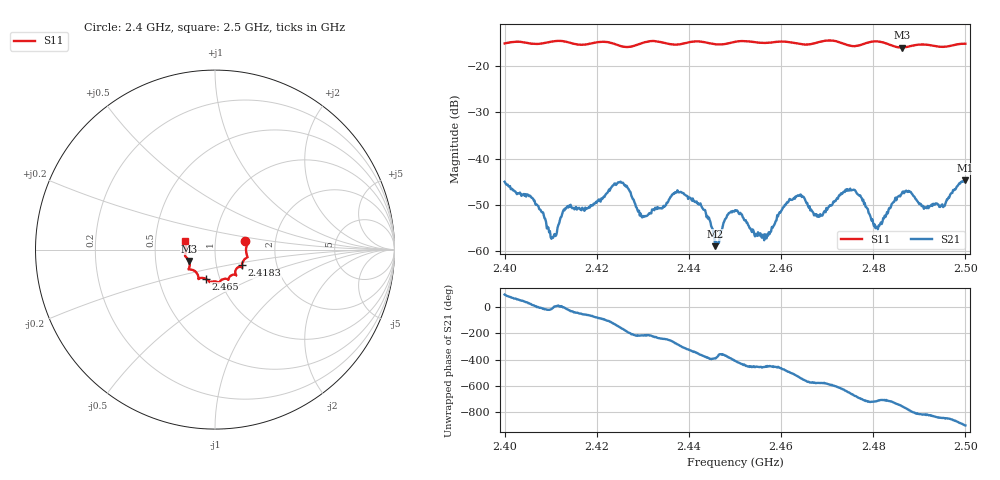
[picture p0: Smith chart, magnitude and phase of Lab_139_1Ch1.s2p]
# Hz S RI R 50
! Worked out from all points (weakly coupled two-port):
!   601 points, 2.4 GHz to 2.5 GHz, reference 50 ohm
!   highest |S21| = -44.65 dB at 2.5 GHz (marker M1); lowest = -58.9 dB at 2.4457 GHz (marker M2)
!   lowest |S11| = -16.0 dB at 2.4862 GHz (marker M3), VSWR 1.37, Z = 37.1 - j4.8 ohm
!   |S11| at or under -10 dB: start of sweep to end of sweep
!   S12 and S22 are empty: the file has one direction only
!   S11 on the Smith chart (normalised r, x): 2.4 GHz: 1.40, +0.13; 2.4183 GHz: 1.33, -0.24; 2.465 GHz: 0.86, -0.29; 2.5 GHz: 0.71, +0.07
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2.4e9  0.169 0.0456  -0.000531 0.0056  0 0  0 0
2.406e9  0.1736 0.00855  0.00362 0.00103  0 0  0 0
2.4105e9  0.1804 -0.0371  0.00138 -0.000175  0 0  0 0
2.413167e9  0.1779 -0.0446  0.00288 -0.000456  0 0  0 0
2.416667e9  0.1549 -0.0684  0.00175 -0.00215  0 0  0 0
2.418333e9  0.15 -0.0869  0.00136 -0.00269  0 0  0 0
2.425167e9  0.1324 -0.0971  -0.00521 -0.00217  0 0  0 0
2.429833e9  0.1134 -0.1355  -0.00189 0.00133  0 0  0 0
2.433333e9  0.1169 -0.1414  -0.00159 0.00241  0 0  0 0
2.438667e9  0.079 -0.1548  0.00255 0.00341  0 0  0 0
2.443e9  0.072 -0.1672  0.00285 -0.000488  0 0  0 0
2.445667e9  0.0561 -0.1622  0.000966 -0.000595  0 0  0 0
2.45e9  0.0252 -0.1804  0.00181 -0.0021  0 0  0 0
2.456333e9  -0.00383 -0.1774  -0.000155 -0.00131  0 0  0 0
2.465e9  -0.0528 -0.1622  -0.00364 0.00104  0 0  0 0
2.466667e9  -0.0714 -0.1575  -0.00221 0.00162  0 0  0 0
2.4745e9  -0.0983 -0.1361  0.00141 0.00429  0 0  0 0
2.4805e9  -0.148 -0.1102  0.00177 2.76e-05  0 0  0 0
2.483333e9  -0.1422 -0.096  0.00281 0.000214  0 0  0 0
2.486167e9  -0.1447 -0.0631  0.00341 -0.00239  0 0  0 0
2.495e9  -0.1607 0.00416  -0.00188 -0.0026  0 0  0 0
2.5e9  -0.167 0.0476  -0.00585 0.000259  0 0  0 0
